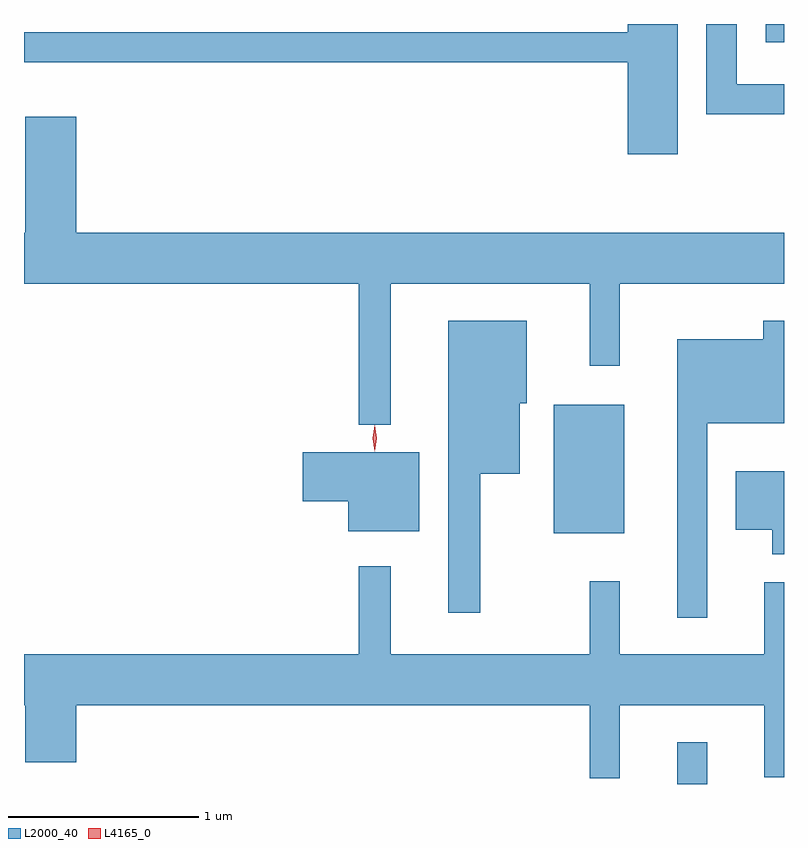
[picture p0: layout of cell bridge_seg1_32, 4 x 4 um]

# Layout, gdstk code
import gdstk
lib = gdstk.Library(unit=1e-6, precision=1e-09)
def R(c, l, rs):  # rectangles x0, y0, x1, y1
    for r in rs: c.add(gdstk.rectangle(r[:2], r[2:], *l))
def P(c, l, *ps):  # polygons
    for p in ps: c.add(gdstk.Polygon(p, *l))
L2000_40 = (2000, 40)
L4165_0 = (4165, 0)

bridge_seg1_32 = lib.new_cell('bridge_seg1_32')
R(bridge_seg1_32, L2000_40, [(1637.086,908.042,1637.244,908.263), (1636.436,909.361,1636.809,910.039), (1637.553,911.946,1637.649,912.042)])
P(bridge_seg1_32, L2000_40, [(1637.649,911.724),(1637.399,911.724),(1637.399,912.042),(1637.241,912.042),(1637.241,911.566),(1637.649,911.566)],
  [(1637.089,912.042),(1636.826,912.042),(1636.826,911.999),(1633.649,911.999),(1633.649,911.841),(1636.826,911.841),(1636.826,911.356),(1637.089,911.356)],
  [(1635.579,910.676),(1636.626,910.676),(1636.626,910.243),(1636.784,910.243),(1636.784,910.676),(1637.649,910.676),(1637.649,910.944),(1633.924,910.944),(1633.924,911.554),(1633.656,911.554),(1633.656,910.944),(1633.649,910.944),(1633.649,910.676),(1635.411,910.676),(1635.411,909.933),(1635.579,909.933)],
  [(1637.244,909.941),(1637.649,909.941),(1637.649,910.479),(1637.541,910.479),(1637.541,910.384),(1637.086,910.384),(1637.086,908.918),(1637.244,908.918)],
  [(1636.049,909.676),(1636.259,909.676),(1636.259,910.046),(1636.294,910.046),(1636.294,910.479),(1635.881,910.479),(1635.881,908.943),(1636.049,908.943)],
  [(1635.729,909.789),(1635.116,909.789),(1635.116,909.531),(1635.356,909.531),(1635.356,909.371),(1635.729,909.371)],
  [(1637.649,909.689),(1637.396,909.689),(1637.396,909.381),(1637.586,909.381),(1637.586,909.251),(1637.649,909.251)],
  [(1636.784,908.456),(1637.546,908.456),(1637.546,908.078),(1637.649,908.078),(1637.649,909.103),(1637.546,909.103),(1637.546,908.724),(1636.784,908.724),(1636.784,909.108),(1636.626,909.108),(1636.626,908.724),(1635.579,908.724),(1635.579,909.188),(1635.411,909.188),(1635.411,908.724),(1633.649,908.724),(1633.649,908.456),(1633.656,908.456),(1633.656,908.156),(1633.924,908.156),(1633.924,908.456),(1636.626,908.456),(1636.626,908.073),(1636.784,908.073)])
P(bridge_seg1_32, L4165_0, [(1635.494,909.794),(1635.485,909.862),(1635.494,909.93),(1635.495,909.93),(1635.495,909.93),(1635.505,909.862),(1635.495,909.794),(1635.495,909.794)])

lib.write_gds('bridge_seg1_32.gds')
